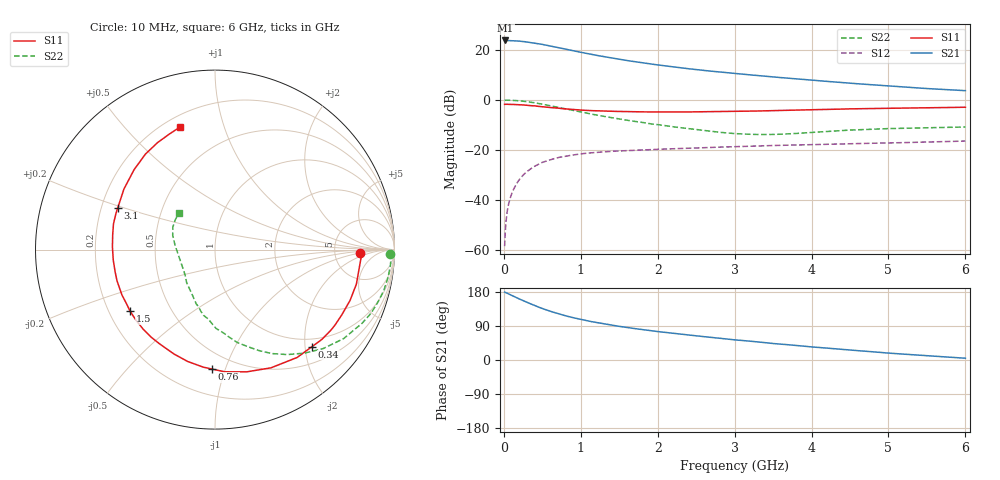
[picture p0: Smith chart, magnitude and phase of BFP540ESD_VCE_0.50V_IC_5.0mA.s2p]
! Infineon Technologies  Discrete & RF Semiconductors
! BFP540ESD
! VCE = 0.50 V,  IC =  5.0 mA
! Common Emitter S-Parameters:  Nov 2015
# GHz  S  MA  R  50
!  f  S11  S21  S12  S22
! GHz  MAG  ANG  MAG  ANG  MAG  ANG  MAG  ANG
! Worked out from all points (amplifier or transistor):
!   210 points, 10 MHz to 6 GHz, reference 50 ohm
!   highest |S21| = 23.7 dB at 20 MHz (marker M1)
!   |S21| within 3 dB of that: start of sweep to 732 MHz
!   unconditionally stable (mu >= 1): 3.376 GHz to end of sweep
!   at 185 MHz: K = 0.06, MSG = 28.0 dB, |S12| = -32.6 dB
!   at 1.52 GHz: K = 0.52, MSG = 18.2 dB, |S12| = -20.4 dB
!   at 6 GHz: K = 1.24, MAG = 7.1 dB, |S12| = -16.5 dB
!   S11 on the Smith chart (normalised r, x): 10 MHz: 9.34, -0.91; 340 MHz: 0.83, -2.15; 760 MHz: 0.38, -0.90; 1.5 GHz: 0.29, -0.30; 3.1 GHz: 0.27, +0.19; 6 GHz: 0.26, +0.72
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0.01  0.8083 -1.2  15.23 179.1  0.0012 91.0  0.9732 -1.6
0.02  0.815 -3.2  15.25 178.5  0.0025 90.4  0.9828 -1.8
0.06  0.8095 -8.2  15.17 174.5  0.0081 86.3  0.9804 -5.4
0.15  0.804 -20.6  15.04 166.0  0.0191 81.1  0.9677 -13.6
0.26  0.7863 -34.9  14.47 155.8  0.0324 72.9  0.9335 -23.2
0.34  0.7644 -45.0  13.9 148.9  0.0409 67.9  0.8962 -29.7
0.4  0.7554 -52.7  13.5 143.7  0.0471 64.6  0.8712 -34.7
0.5  0.7288 -64.7  12.73 135.7  0.0564 59.1  0.8173 -42.4
0.6  0.7034 -75.6  11.84 128.6  0.0632 54.4  0.7622 -49.2
0.7  0.6828 -85.5  11.07 122.6  0.07 50.1  0.7097 -55.5
0.76  0.6657 -91.5  10.57 119.2  0.0729 47.8  0.6779 -59.0
0.9  0.6415 -103.8  9.512 111.6  0.0792 42.7  0.6124 -66.6
1.02  0.6212 -113.0  8.736 106.3  0.0839 39.9  0.5614 -72.5
1.2  0.6037 -126.1  7.715 98.9  0.0887 35.5  0.4974 -80.4
1.5  0.5846 -144.0  6.419 88.8  0.0951 30.4  0.4135 -92.3
1.7  0.5768 -154.0  5.76 82.9  0.0985 27.7  0.3713 -100.0
2.02  0.5699 -167.7  4.915 74.6  0.1029 24.6  0.3164 -109.6
2.6  0.5761 171.6  3.848 61.6  0.1107 20.4  0.2448 -130.0
3.1  0.5894 157.0  3.242 51.5  0.1169 17.6  0.2077 -148.8
4.1  0.6374 133.4  2.394 33.0  0.1279 11.7  0.2279 171.1
5.1  0.6793 116.8  1.845 16.9  0.1385 6.7  0.2678 150.1
6  0.7095 106.1  1.52 4.7  0.15 3.2  0.2863 134.7
